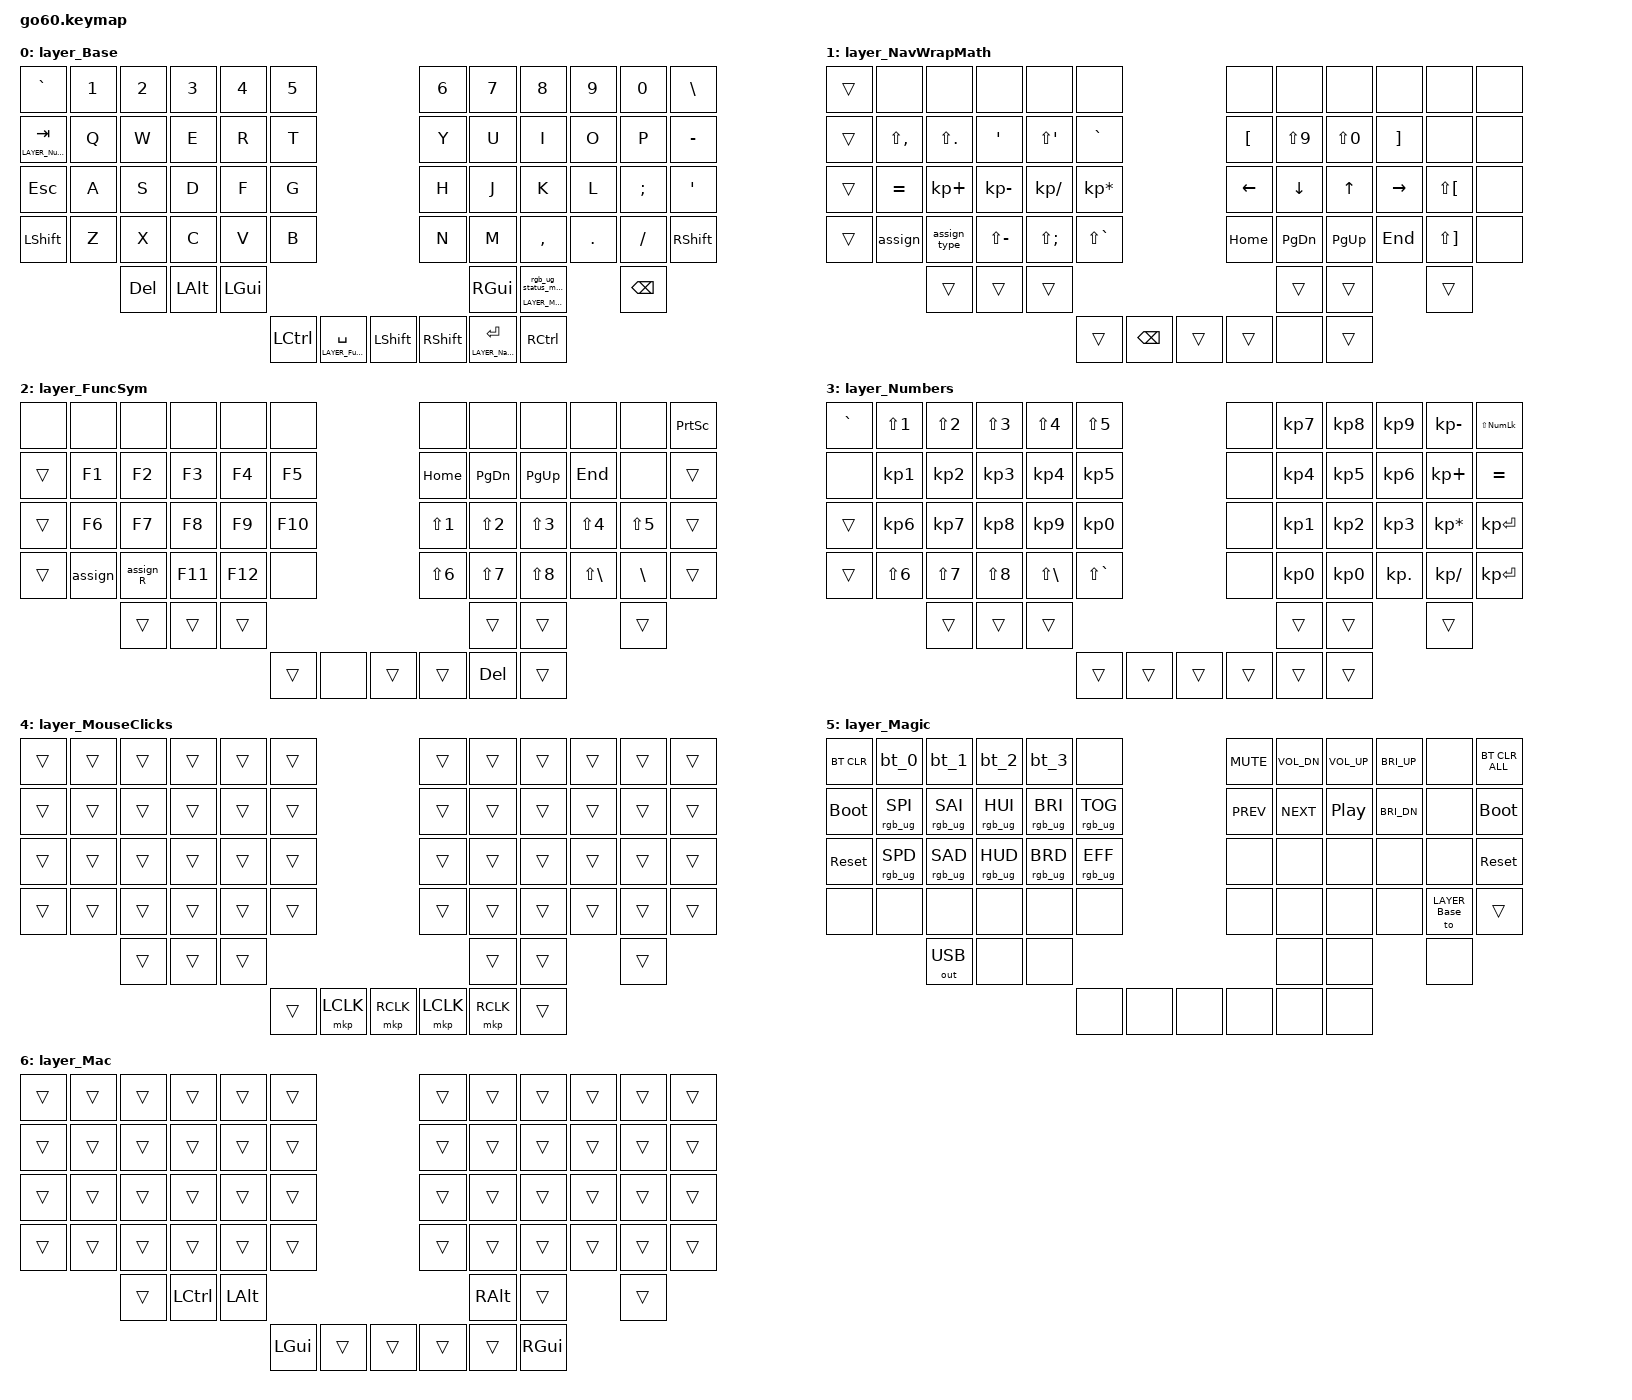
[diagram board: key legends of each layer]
/*
 * Copyright (c) 2020 The ZMK Contributors
 * Copyright (c) 2025 Innaworks Development Limited, trading as MoErgo
 *
 * SPDX-License-Identifier: MIT
 */


/* THIS FILE WAS GENERATED BY GO60 LAYOUT EDITOR
 *
 * This file was generated automatically. You may or may not want to
 * edit it directly.
 */

#include <behaviors.dtsi>

/* Include all behavior includes needed */

#include <dt-bindings/zmk/outputs.h>
#include <dt-bindings/zmk/keys.h>
#include <dt-bindings/zmk/bt.h>
#include <dt-bindings/zmk/rgb.h>

#include <input/processors.dtsi>
#include <dt-bindings/zmk/input_transform.h>
#include <zephyr/dt-bindings/input/input-event-codes.h>

/* On demand includes */
#include <dt-bindings/zmk/input_transform.h>
#include <dt-bindings/zmk/pointing.h>
#include <input/processors.dtsi>

/* Helper Macros, based on https://github.com/urob/zmk-helpers/ */

#pragma once

#define ZMK_HELPER_STRINGIFY(x) #x

// Preprocessor mechanism to overload macros, cf. https://stackoverflow.com/a/27051616/6114651
#define VARGS_(_10, _9, _8, _7, _6, _5, _4, _3, _2, _1, N, ...) N
#define VARGS(...) VARGS_(__VA_ARGS__, 10, 9, 8, 7, 6, 5, 4, 3, 2, 1, 0)
#define CONCAT_(a, b) a##b
#define CONCAT(a, b) CONCAT_(a, b)

#define ZMK_BEHAVIOR_CORE_tap_dance  \
    compatible = "zmk,behavior-tap-dance"; \
    #binding-cells = <0>

#define ZMK_BEHAVIOR(name, type, ...) \
    name: name { \
        ZMK_BEHAVIOR_CORE_ ## type; \
        __VA_ARGS__ \
    };

#define ZMK_TAP_DANCE(name, ...) \
    ZMK_BEHAVIOR(name, tap_dance, __VA_ARGS__)

#define ZMK_TD_LAYER(name, layer) \
    ZMK_TAP_DANCE(name, \
        tapping-term-ms = <200>; \
        bindings = <&mo layer>, <&to layer>; \
)





/* Key positions */

#define POS_LH_C6R1 0
#define POS_LH_C5R1 1
#define POS_LH_C4R1 2
#define POS_LH_C3R1 3
#define POS_LH_C2R1 4
#define POS_LH_C1R1 5
#define POS_RH_C1R1 6
#define POS_RH_C2R1 7
#define POS_RH_C3R1 8
#define POS_RH_C4R1 9
#define POS_RH_C5R1 10
#define POS_RH_C6R1 11
#define POS_LH_C6R2 12
#define POS_LH_C5R2 13
#define POS_LH_C4R2 14
#define POS_LH_C3R2 15
#define POS_LH_C2R2 16
#define POS_LH_C1R2 17
#define POS_RH_C1R2 18
#define POS_RH_C2R2 19
#define POS_RH_C3R2 20
#define POS_RH_C4R2 21
#define POS_RH_C5R2 22
#define POS_RH_C6R2 23
#define POS_LH_C6R3 24
#define POS_LH_C5R3 25
#define POS_LH_C4R3 26
#define POS_LH_C3R3 27
#define POS_LH_C2R3 28
#define POS_LH_C1R3 29
#define POS_RH_C1R3 30
#define POS_RH_C2R3 31
#define POS_RH_C3R3 32
#define POS_RH_C4R3 33
#define POS_RH_C5R3 34
#define POS_RH_C6R3 35
#define POS_LH_C6R4 36
#define POS_LH_C5R4 37
#define POS_LH_C4R4 38
#define POS_LH_C3R4 39
#define POS_LH_C2R4 40
#define POS_LH_C1R4 41
#define POS_RH_C1R4 42
#define POS_RH_C2R4 43
#define POS_RH_C3R4 44
#define POS_RH_C4R4 45
#define POS_RH_C5R4 46
#define POS_RH_C6R4 47
#define POS_LH_C4R5 48
#define POS_LH_C3R5 49
#define POS_LH_C2R5 50
#define POS_RH_C2R5 51
#define POS_RH_C3R5 52
#define POS_RH_C4R5 53
#define POS_LH_T1 54
#define POS_LH_T2 55
#define POS_LH_T3 56
#define POS_RH_T3 57
#define POS_RH_T2 58
#define POS_RH_T1 59


#define LEFT_HAND_KEYS \
  POS_LH_C1R1 POS_LH_C2R1 POS_LH_C3R1 POS_LH_C4R1 POS_LH_C5R1 POS_LH_C6R1 \
  POS_LH_C1R2 POS_LH_C2R2 POS_LH_C3R2 POS_LH_C4R2 POS_LH_C5R2 POS_LH_C6R2 \
  POS_LH_C1R3 POS_LH_C2R3 POS_LH_C3R3 POS_LH_C4R3 POS_LH_C5R3 POS_LH_C6R3 \
  POS_LH_C1R4 POS_LH_C2R4 POS_LH_C3R4 POS_LH_C4R4 POS_LH_C5R4 POS_LH_C6R4 \
              POS_LH_C2R5 POS_LH_C3R5 POS_LH_C4R5

#define RIGHT_HAND_KEYS \
  POS_RH_C1R1 POS_RH_C2R1 POS_RH_C3R1 POS_RH_C4R1 POS_RH_C5R1 POS_RH_C6R1 \
  POS_RH_C1R2 POS_RH_C2R2 POS_RH_C3R2 POS_RH_C4R2 POS_RH_C5R2 POS_RH_C6R2 \
  POS_RH_C1R3 POS_RH_C2R3 POS_RH_C3R3 POS_RH_C4R3 POS_RH_C5R3 POS_RH_C6R3 \
  POS_RH_C1R4 POS_RH_C2R4 POS_RH_C3R4 POS_RH_C4R4 POS_RH_C5R4 POS_RH_C6R4 \
              POS_RH_C2R5 POS_RH_C3R5 POS_RH_C4R5

#define THUMB_KEYS \
  POS_LH_T1 POS_LH_T2 POS_LH_T3 \
  POS_RH_T1 POS_RH_T2 POS_RH_T3

/* Environment and metadata defines */
#define KB_TYPE_GLOVE_80 1
#define KB_TYPE_GO_60    2

#define KB_TYPE          KB_TYPE_GO_60
#define EDITOR_HOST_OS   'W'

/* Automatically generated layer name defines */
#define LAYER_Base 0
#define LAYER_NavWrapMath 1
#define LAYER_FuncSym 2
#define LAYER_Numbers 3
#define LAYER_MouseClicks 4
#define LAYER_Magic 5
#define LAYER_Mac 6

/* To deal with the situation where there is no Lower layer, to keep &lower happy */
#ifndef LAYER_Lower
#define LAYER_Lower 0
#endif

/* Generated input processors */
/ {
    input_processors {
        zip_click_to_right_click_mapper: zip_click_to_right_click_mapper {
            compatible = "zmk,input-processor-code-mapper";
            #input-processor-cells = <0>;
            type = <INPUT_EV_KEY>;
            map = <INPUT_BTN_0 INPUT_BTN_1>;
        };
    };
};

/* Custom Device-tree */


/* Input Listeners */
&cirque_rh_listener {
    input-processors = <&zip_xy_scaler 11 5>, <&zip_temp_layer LAYER_MouseClicks 425>;
    layer_FuncSym {
        layers = <LAYER_FuncSym>;
        input-processors = <&zip_xy_scaler 9 1>;
    };
};

&cirque_lh_listener {
    input-processors = <&zip_xy_scaler 1 5>, <&zip_xy_transform INPUT_TRANSFORM_Y_INVERT>, <&zip_xy_to_scroll_mapper>, <&zip_click_to_right_click_mapper>;
};

/* System behavior and macros */
/ {
    behaviors {
        ZMK_TD_LAYER(lower, LAYER_Lower)
    };
};

/ {
    macros {
        rgb_ug_status_macro: rgb_ug_status_macro {
            label = "RGB_UG_STATUS";
            compatible = "zmk,behavior-macro";
            #binding-cells = <0>;
            bindings
                = <&rgb_ug RGB_STATUS>;
        };
    };
};

/ {
#ifdef BT_DISC_CMD
    behaviors {
        bt_0: bt_0 {
            compatible = "zmk,behavior-tap-dance";
            label = "BT_0";
            #binding-cells = <0>;
            tapping-term-ms = <200>;
            bindings = <&bt_select_0>, <&bt BT_DISC 0>;
        };
        bt_1: bt_1 {
            compatible = "zmk,behavior-tap-dance";
            label = "BT_1";
            #binding-cells = <0>;
            tapping-term-ms = <200>;
            bindings = <&bt_select_1>, <&bt BT_DISC 1>;
        };
        bt_2: bt_2 {
            compatible = "zmk,behavior-tap-dance";
            label = "BT_2";
            #binding-cells = <0>;
            tapping-term-ms = <200>;
            bindings = <&bt_select_2>, <&bt BT_DISC 2>;
        };
        bt_3: bt_3 {
            compatible = "zmk,behavior-tap-dance";
            label = "BT_3";
            #binding-cells = <0>;
            tapping-term-ms = <200>;
            bindings = <&bt_select_3>, <&bt BT_DISC 3>;
        };
    };
    macros {
        bt_select_0: bt_select_0 {
            label = "BT_SELECT_0";
            compatible = "zmk,behavior-macro";
            #binding-cells = <0>;
            bindings
                = <&out OUT_BLE>,
                  <&bt BT_SEL 0>;
        };
        bt_select_1: bt_select_1 {
            label = "BT_SELECT_1";
            compatible = "zmk,behavior-macro";
            #binding-cells = <0>;
            bindings
                = <&out OUT_BLE>,
                  <&bt BT_SEL 1>;
        };
        bt_select_2: bt_select_2 {
            label = "BT_SELECT_2";
            compatible = "zmk,behavior-macro";
            #binding-cells = <0>;
            bindings
                = <&out OUT_BLE>,
                  <&bt BT_SEL 2>;
        };
        bt_select_3: bt_select_3 {
            label = "BT_SELECT_3";
            compatible = "zmk,behavior-macro";
            #binding-cells = <0>;
            bindings
                = <&out OUT_BLE>,
                  <&bt BT_SEL 3>;
        };
    };
#else
    macros {
        bt_0: bt_0 {
            label = "BT_0";
            compatible = "zmk,behavior-macro";
            #binding-cells = <0>;
            bindings
                = <&out OUT_BLE>,
                  <&bt BT_SEL 0>;
        };
        bt_1: bt_1 {
            label = "BT_1";
            compatible = "zmk,behavior-macro";
            #binding-cells = <0>;
            bindings
                = <&out OUT_BLE>,
                  <&bt BT_SEL 1>;
        };
        bt_2: bt_2 {
            label = "BT_2";
            compatible = "zmk,behavior-macro";
            #binding-cells = <0>;
            bindings
                = <&out OUT_BLE>,
                  <&bt BT_SEL 2>;
        };
        bt_3: bt_3 {
            label = "BT_3";
            compatible = "zmk,behavior-macro";
            #binding-cells = <0>;
            bindings
                = <&out OUT_BLE>,
                  <&bt BT_SEL 3>;
        };
    };
#endif
};

/ {
    behaviors {
        magic: magic {
            compatible = "zmk,behavior-hold-tap";
            label = "MAGIC_HOLD_TAP";
            #binding-cells = <2>;
            flavor = "tap-preferred";
            tapping-term-ms = <200>;
            bindings = <&mo>, <&rgb_ug_status_macro>;
        };
    };
};


/* Custom Defined Behaviors */
/ {

};

/* Automatically generated macro definitions */
/ {
    macros {

        // space-eq-space
        assign: assign {
            label = "&ASSIGN";
            compatible = "zmk,behavior-macro";
            #binding-cells = <0>;
            bindings = <&kp SPACE>
                , <&kp EQUAL>
                , <&kp SPACE>;
        };

        // space-right-arrow-space
        assign_type: assign_type {
            label = "&assign_type";
            compatible = "zmk,behavior-macro";
            #binding-cells = <0>;
            bindings = <&kp SPACE>
                , <&kp MINUS>
                , <&kp LS(DOT)>
                , <&kp SPACE>;
        };

        // space-left-arrow-space
        assign_R: assign_R {
            label = "&ASSIGN_R";
            compatible = "zmk,behavior-macro";
            #binding-cells = <0>;
            bindings = <&kp SPACE>
                , <&kp LS(COMMA)>
                , <&kp MINUS>
                , <&kp SPACE>;
        };
    };
};

/* Automatically generated behavior definitions */
/ {
    behaviors {


        shift_mouse: shift_mouse {
            compatible = "zmk,behavior-hold-tap";
            #binding-cells = <2>;
            tapping-term-ms = <300>;
            bindings = <&kp>, <&mkp>;
        };

        // hold for layer, hold preferred
        lt_holdpref: lt_holdpref {
            compatible = "zmk,behavior-hold-tap";
            #binding-cells = <2>;
            tapping-term-ms = <300>;
            bindings = <&mo>, <&kp>;
            retro-tap;
        };

        // hold for layer, tap preferred
        lt_tappref: lt_tappref {
            compatible = "zmk,behavior-hold-tap";
            #binding-cells = <2>;
            tapping-term-ms = <375>;
            bindings = <&mo>, <&kp>;
            flavor = "tap-preferred";
            quick-tap-ms = <300>;
        };

        layer_mouse: layer_mouse {
            compatible = "zmk,behavior-hold-tap";
            #binding-cells = <2>;
            tapping-term-ms = <350>;
            bindings = <&mo>, <&mkp>;
            flavor = "tap-preferred";
        };
    };
};

/* Automatically generated combos definitions */
/ {
    combos {
        compatible = "zmk,combos";

        // switches to magic
        combo_base_to_magic {
            key-positions = <POS_LH_C6R3 POS_RH_T2>;
            bindings = <&to LAYER_Magic>;
            layers = <LAYER_Base>;
        };

        // go back to base
        combo_mac_to_base {
            key-positions = <POS_RH_C6R1 POS_LH_C6R1>;
            bindings = <&to LAYER_Base>;
            layers = <LAYER_Mac>;
        };

        // go back to base
        combo_magic_to_base {
            key-positions = <POS_RH_T2 POS_LH_C6R3>;
            bindings = <&to LAYER_Base>;
            layers = <LAYER_Magic>;
        };

        // switch to mac
        combo_mac_from_base {
            key-positions = <POS_RH_C6R1 POS_LH_C6R1>;
            bindings = <&to LAYER_Mac>;
            layers = <LAYER_Base>;
        };

        // enable capsword
        combo_dbl_shift {
            key-positions = <POS_LH_C6R4 POS_RH_C6R4>;
            bindings = <&caps_word>;
            layers = <LAYER_Base LAYER_Mac>;
        };
    };
};

/* Automatically generated keymap */
/ {
    keymap {
        compatible = "zmk,keymap";


        layer_Base {
            bindings = <
             &kp GRAVE   &kp N1   &kp N2    &kp N3    &kp N4    &kp N5                                                                                                                 &kp N6    &kp N7      &kp N8      &kp N9    &kp N0    &kp BSLH
 &lt LAYER_Numbers TAB   &kp Q    &kp W     &kp E     &kp R     &kp T                                                                                                                  &kp Y     &kp U       &kp I       &kp O     &kp P     &kp MINUS
               &kp ESC   &kp A    &kp S     &kp D     &kp F     &kp G                                                                                                                  &kp H     &kp J       &kp K       &kp L     &kp SEMI  &kp SQT
             &kp LSHFT   &kp Z    &kp X     &kp C     &kp V     &kp B                                                                                                                  &kp N     &kp M       &kp COMMA   &kp DOT   &kp FSLH  &kp RSHFT
                                  &kp DEL   &kp LALT  &kp LGUI                                                                                                                                   &kp RGUI    &magic LAYER_Magic 0  &kp BSPC
                                                                     &kp LCTRL  &lt_tappref LAYER_FuncSym SPACE  &kp LSHFT  &kp RSHFT  &lt_holdpref LAYER_NavWrapMath RET  &kp RCTRL
            >;
        };

        layer_NavWrapMath {
            bindings = <
 &trans  &none          &none          &none          &none           &none                                                            &none      &none       &none      &none      &none          &none
 &trans  &kp LS(COMMA)  &kp LS(DOT)    &kp SQT        &kp LS(SQT)     &kp GRAVE                                                        &kp LBKT   &kp LS(N9)  &kp LS(N0) &kp RBKT   &none          &none
 &trans  &kp EQUAL      &kp KP_PLUS    &kp KP_MINUS   &kp KP_SLASH    &kp KP_MULTIPLY                                                  &kp LEFT   &kp DOWN    &kp UP     &kp RIGHT  &kp LS(LBKT)   &none
 &trans  &assign        &assign_type   &kp LS(MINUS)  &kp LS(SEMI)    &kp LS(GRAVE)                                                    &kp HOME   &kp PG_DN   &kp PG_UP  &kp END    &kp LS(RBKT)   &none
                        &trans         &trans         &trans                                                                                      &trans      &trans     &trans
                                                                                   &trans  &kp BSPC  &trans  &trans   &none  &trans
            >;
        };

        layer_FuncSym {
            bindings = <
 &none   &none    &none      &none    &none      &none                                                    &none       &none       &none       &none         &none       &kp PSCRN
 &trans  &kp F1   &kp F2     &kp F3   &kp F4     &kp F5                                                   &kp HOME    &kp PG_DN   &kp PG_UP   &kp END       &none       &trans
 &trans  &kp F6   &kp F7     &kp F8   &kp F9     &kp F10                                                  &kp LS(N1)  &kp LS(N2)  &kp LS(N3)  &kp LS(N4)    &kp LS(N5)  &trans
 &trans  &assign  &assign_R  &kp F11  &kp F12    &none                                                    &kp LS(N6)  &kp LS(N7)  &kp LS(N8)  &kp LS(BSLH)  &kp BSLH    &trans
                  &trans     &trans   &trans                                                              &trans      &trans      &trans
                                                    &trans   &none  &trans  &trans  &kp DEL  &trans
            >;
        };

        layer_Numbers {
            bindings = <
 &kp GRAVE  &kp LS(N1)  &kp LS(N2)  &kp LS(N3)    &kp LS(N4)     &kp LS(N5)                                                   &none  &kp KP_N7  &kp KP_N8   &kp KP_N9     &kp KP_MINUS  &kp LS(KP_NUM)
     &none   &kp KP_N1   &kp KP_N2   &kp KP_N3     &kp KP_N4      &kp KP_N5                                                   &none  &kp KP_N4  &kp KP_N5   &kp KP_N6      &kp KP_PLUS       &kp EQUAL
    &trans   &kp KP_N6   &kp KP_N7   &kp KP_N8     &kp KP_N9      &kp KP_N0                                                   &none  &kp KP_N1  &kp KP_N2   &kp KP_N3  &kp KP_MULTIPLY    &kp KP_ENTER
    &trans  &kp LS(N6)  &kp LS(N7)  &kp LS(N8)  &kp LS(BSLH)  &kp LS(GRAVE)                                                   &none  &kp KP_N0  &kp KP_N0  &kp KP_DOT     &kp KP_SLASH    &kp KP_ENTER
                            &trans      &trans        &trans                                                                            &trans     &trans      &trans
                                                                             &trans  &trans  &trans  &trans  &trans  &trans
            >;
        };

        layer_MouseClicks {
            bindings = <
 &trans  &trans  &trans  &trans  &trans  &trans                                                              &trans  &trans  &trans  &trans  &trans  &trans
 &trans  &trans  &trans  &trans  &trans  &trans                                                              &trans  &trans  &trans  &trans  &trans  &trans
 &trans  &trans  &trans  &trans  &trans  &trans                                                              &trans  &trans  &trans  &trans  &trans  &trans
 &trans  &trans  &trans  &trans  &trans  &trans                                                              &trans  &trans  &trans  &trans  &trans  &trans
                 &trans  &trans  &trans                                                                              &trans  &trans  &trans
                                                 &trans  &mkp LCLK  &mkp RCLK  &mkp LCLK  &mkp RCLK  &trans
            >;
        };

        layer_Magic {
            bindings = <
  &bt BT_CLR            &bt_0            &bt_1            &bt_2            &bt_3            &none                                                  &kp C_MUTE  &kp C_VOL_DN  &kp C_VOL_UP  &kp C_BRI_UP           &none  &bt BT_CLR_ALL
 &bootloader  &rgb_ug RGB_SPI  &rgb_ug RGB_SAI  &rgb_ug RGB_HUI  &rgb_ug RGB_BRI  &rgb_ug RGB_TOG                                                  &kp C_PREV    &kp C_NEXT      &kp C_PP  &kp C_BRI_DN           &none     &bootloader
  &sys_reset  &rgb_ug RGB_SPD  &rgb_ug RGB_SAD  &rgb_ug RGB_HUD  &rgb_ug RGB_BRD  &rgb_ug RGB_EFF                                                       &none         &none         &none         &none           &none      &sys_reset
       &none            &none            &none            &none            &none            &none                                                       &none         &none         &none         &none  &to LAYER_Base          &trans
                                  &out OUT_USB            &none            &none                                                                                      &none         &none         &none
                                                                                                    &none   &none   &none   &none   &none   &none
            >;
        };

        layer_Mac {
            bindings = <
 &trans  &trans  &trans     &trans    &trans  &trans                                                      &trans    &trans  &trans  &trans  &trans  &trans
 &trans  &trans  &trans     &trans    &trans  &trans                                                      &trans    &trans  &trans  &trans  &trans  &trans
 &trans  &trans  &trans     &trans    &trans  &trans                                                      &trans    &trans  &trans  &trans  &trans  &trans
 &trans  &trans  &trans     &trans    &trans  &trans                                                      &trans    &trans  &trans  &trans  &trans  &trans
                 &trans  &kp LCTRL  &kp LALT                                                                      &kp RALT  &trans  &trans
                                                      &kp LGUI  &trans  &trans  &trans  &trans  &kp RGUI
            >;
        };

    };
};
